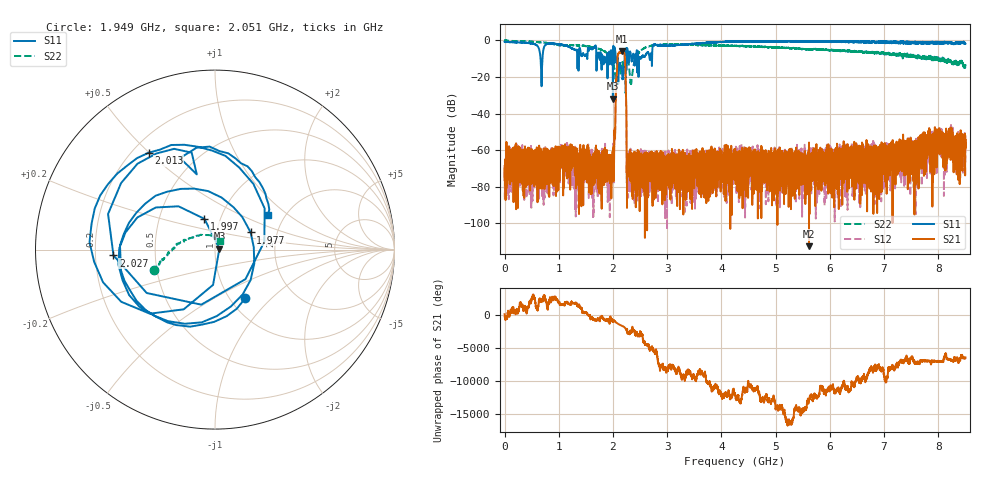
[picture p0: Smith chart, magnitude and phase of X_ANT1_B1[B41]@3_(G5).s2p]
#  HZ  S  RI  R  50.00
! Rohde & Schwarz Vector Network Analyzer
! Rohde-Schwarz,ZNBT8-20Port,1318700624101681,3.50
! Created: UTC 7/15/2025, 2:11:11 PM
! freq[Hz]  re:S1010  im:S1010  re:S0310  im:S0310  re:S1003  im:S1003  re:S33  im:S33
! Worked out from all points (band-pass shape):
!   8500 points, 1 MHz to 8.5 GHz, reference 50 ohm
!   highest |S21| = -6.05 dB at 2.172 GHz (marker M1); lowest = -112.5 dB at 5.616 GHz (marker M2)
!   |S21| within 3 dB of the highest: 2.086 GHz to 2.219 GHz (132.6 MHz wide, 6.16 % of centre)
!   lowest |S11| = -32.0 dB at 1.998 GHz (marker M3), VSWR 1.05, Z = 52.5 + j0.609 ohm
!   |S11| at or under -10 dB: 663.8 MHz to 698.6 MHz (34.8 MHz wide, 5.11 % of centre); 2.059 GHz to 2.215 GHz (155.1 MHz wide, 7.26 % of centre); 2.389 GHz to 2.408 GHz (19.28 MHz wide, 0.804 % of centre)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
!   |S22| runs from -33.7 to -0.1 dB; largest |S21 - S12| = 0.022
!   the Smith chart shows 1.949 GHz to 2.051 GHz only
!   S11 on the Smith chart (normalised r, x): 1.949 GHz: 1.17, -0.71; 1.977 GHz: 1.46, +0.29; 1.997 GHz: 0.84, +0.30; 2.013 GHz: 0.26, +0.50; 2.027 GHz: 0.28, -0.03; 2.051 GHz: 1.64, +0.72
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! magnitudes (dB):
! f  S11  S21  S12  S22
! 1 MHz  -0.8  -68.7  -74.8  -0.2
! 567 MHz  -2.2  -60.6  -66.7  -0.9
! 677 MHz  -19.3  -65.5  -73.0  -1.1
! 804 MHz  -1.8  -67.4  -65.6  -1.5
! 1.418 GHz  -8.5  -61.0  -66.5  -2.9
! 1.949 GHz  -9.9  -64.9  -78.2  -8.9
! 1.977 GHz  -13.1  -69.7  -64.2  -10.5
! 1.997 GHz  -14.8  -74.7  -75.0  -12.1
! 1.998 GHz  -32.0  -64.1  -67.2  -12.4
! 2.013 GHz  -3.7  -66.2  -65.6  -13.7
! 2.027 GHz  -4.9  -49.6  -50.0  -16.0
! 2.051 GHz  -9.1  -30.4  -30.4  -25.3
! 2.095 GHz  -23.8  -7.6  -7.5  -12.6
! 2.172 GHz  -19.9  -6.0  -6.2  -11.8
! 2.206 GHz  -13.7  -6.8  -6.9  -13.3
! 2.292 GHz  -11.1  -64.3  -61.2  -12.9
! 2.834 GHz  -2.8  -64.9  -63.9  -2.5
! 4.251 GHz  -0.6  -63.8  -65.6  -3.0
! 5.616 GHz  -0.6  -112.5  -67.4  -5.1
! 5.667 GHz  -0.4  -67.7  -67.8  -4.9
! 7.084 GHz  -0.8  -58.3  -61.3  -7.3
! 8.5 GHz  -1.9  -58.3  -55.4  -13.1
